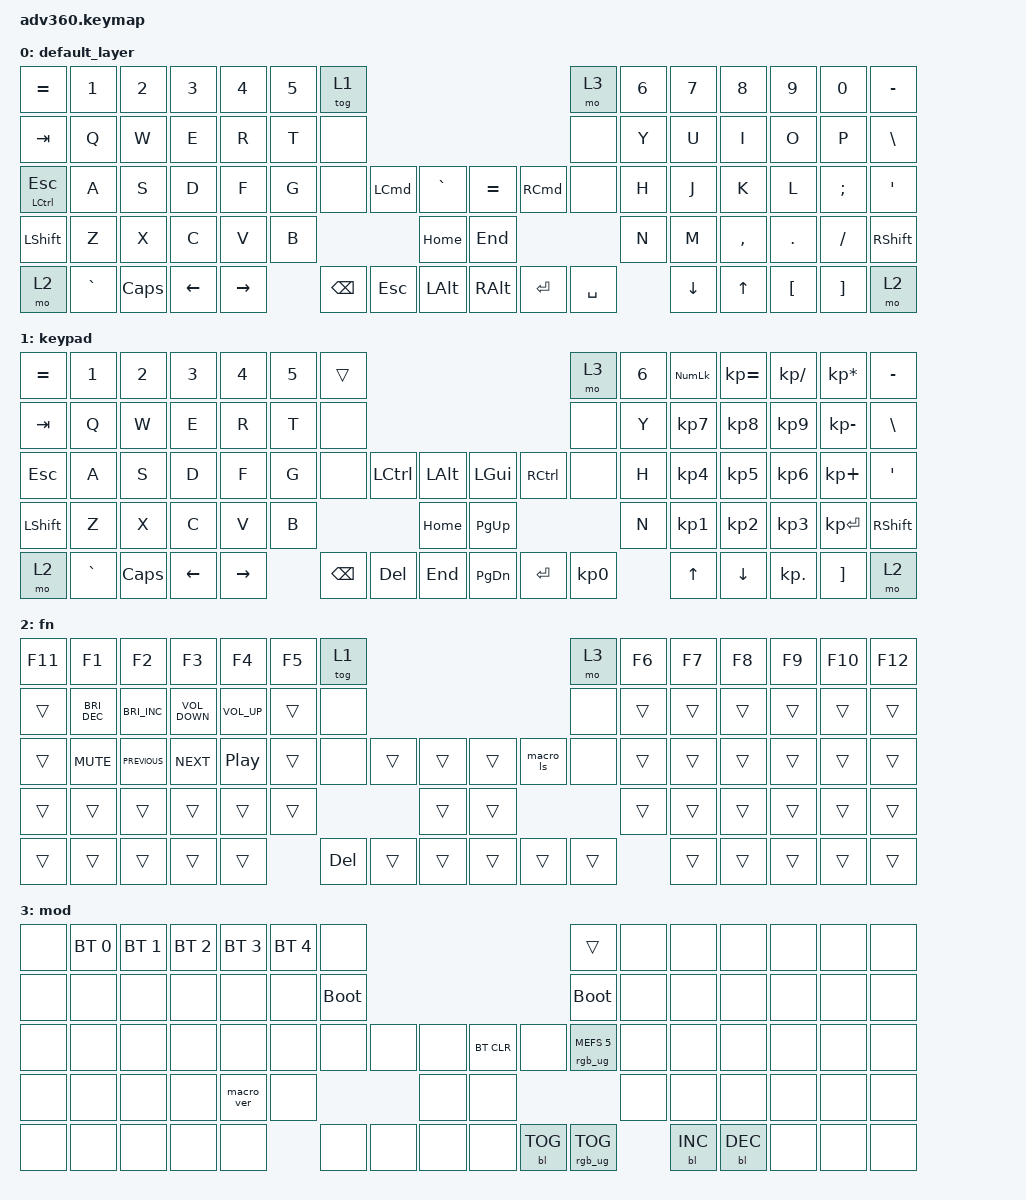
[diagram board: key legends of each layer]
#include <behaviors.dtsi>
#include <dt-bindings/zmk/backlight.h>
#include <dt-bindings/zmk/bt.h>
#include <dt-bindings/zmk/keys.h>
#include <dt-bindings/zmk/rgb.h>

/ {
    behaviors {
        #include "macros.dtsi"
      #include "version.dtsi"
      #ifndef VERSION_MACRO

        macro_ver: macro_ver {
            compatible = "zmk,behavior-macro";
            label = "macro_version";
            #binding-cells = <0>;
            bindings = <&kp RET>;
        };

        #endif

        hm: homerow_mods {
            compatible = "zmk,behavior-hold-tap";
            label = "HOMEROW_MODS";
            #binding-cells = <2>;
            tapping-term-ms = <200>;
            quick_tap_ms = <175>;
            flavor = "tap-preferred";
            bindings = <&kp>, <&kp>;
        };

        ht: ht {
            compatible = "zmk,behavior-hold-tap";
            label = "HT";
            #binding-cells = <2>;
            tapping-term-ms = <200>;
            quick_tap_ms = <175>;
            flavor = "tap-preferred";
            bindings = <&kp>, <&kp>;
        };
    };

    macros {
        macro_ls: macro_ls {
            compatible = "zmk,behavior-macro";
            #binding-cells = <0>;
            bindings =
                <&macro_press>,
                <&kp LEFT_COMMAND &kp LEFT_CONTROL &kp Q>,
                <&macro_release>,
                <&kp LEFT_COMMAND &kp LEFT_CONTROL &kp Q>;

            label = "macro_lscr";
        };
    };

    keymap {
        compatible = "zmk,keymap";

        default_layer {
            bindings = <
&kp EQUAL      &kp N1     &kp N2    &kp N3    &kp N4     &kp N5  &tog 1                                                                      &mo 3      &kp N6  &kp N7          &kp N8        &kp N9    &kp N0    &kp MINUS
&kp TAB        &kp Q      &kp W     &kp E     &kp R      &kp T   &none                                                                       &none      &kp Y   &kp U           &kp I         &kp O     &kp P     &kp BSLH
&ht LCTRL ESC  &kp A      &kp S     &kp D     &kp F      &kp G   &none     &kp LEFT_COMMAND  &kp GRAVE         &kp EQUAL  &kp RIGHT_COMMAND  &none      &kp H   &kp J           &kp K         &kp L     &kp SEMI  &kp SQT
&kp LSHFT      &kp Z      &kp X     &kp C     &kp V      &kp B                               &kp HOME          &kp END                                  &kp N   &kp M           &kp COMMA     &kp DOT   &kp FSLH  &kp RSHFT
&mo 2          &kp GRAVE  &kp CAPS  &kp LEFT  &kp RIGHT          &kp BSPC  &kp ESC           &kp LEFT_ALT      &kp RALT   &kp ENTER          &kp SPACE          &kp DOWN_ARROW  &kp UP_ARROW  &kp LBKT  &kp RBKT  &mo 2
            >;
        };

        keypad {
            bindings = <
&kp EQUAL  &kp N1     &kp N2    &kp N3    &kp N4     &kp N5  &trans                                                   &mo 3      &kp N6  &kp KP_NUM  &kp KP_EQUAL  &kp KP_DIVIDE  &kp KP_MULTIPLY  &kp MINUS
&kp TAB    &kp Q      &kp W     &kp E     &kp R      &kp T   &none                                                    &none      &kp Y   &kp KP_N7   &kp KP_N8     &kp KP_N9      &kp KP_MINUS     &kp BSLH
&kp ESC    &kp A      &kp S     &kp D     &kp F      &kp G   &none     &kp LCTRL  &kp LALT      &kp LGUI   &kp RCTRL  &none      &kp H   &kp KP_N4   &kp KP_N5     &kp KP_N6      &kp KP_PLUS      &kp SQT
&kp LSHFT  &kp Z      &kp X     &kp C     &kp V      &kp B                        &kp HOME      &kp PG_UP                        &kp N   &kp KP_N1   &kp KP_N2     &kp KP_N3      &kp KP_ENTER     &kp RSHFT
&mo 2      &kp GRAVE  &kp CAPS  &kp LEFT  &kp RIGHT          &kp BSPC  &kp DEL    &kp END       &kp PG_DN  &kp ENTER  &kp KP_N0          &kp UP      &kp DOWN      &kp KP_DOT     &kp RBKT         &mo 2
            >;
        };

        fn {
            bindings = <
&kp F11  &kp F1                &kp F2                &kp F3             &kp F4            &kp F5  &tog 1                                          &mo 3   &kp F6  &kp F7  &kp F8  &kp F9  &kp F10  &kp F12
&trans   &kp C_BRIGHTNESS_DEC  &kp C_BRIGHTNESS_INC  &kp C_VOLUME_DOWN  &kp C_VOLUME_UP   &trans  &none                                           &none   &trans  &trans  &trans  &trans  &trans   &trans
&trans   &kp C_MUTE            &kp C_PREVIOUS        &kp C_NEXT         &kp C_PLAY_PAUSE  &trans  &none    &trans  &trans      &trans  &macro_ls  &none   &trans  &trans  &trans  &trans  &trans   &trans
&trans   &trans                &trans                &trans             &trans            &trans                   &trans      &trans                     &trans  &trans  &trans  &trans  &trans   &trans
&trans   &trans                &trans                &trans             &trans                    &kp DEL  &trans  &trans      &trans  &trans     &trans          &trans  &trans  &trans  &trans   &trans
            >;
        };

        mod {
            bindings = <
&none  &bt BT_SEL 0  &bt BT_SEL 1  &bt BT_SEL 2  &bt BT_SEL 3  &bt BT_SEL 4  &none                                                  &trans                  &none  &none       &none       &none  &none  &none
&none  &none         &none         &none         &none         &none         &bootloader                                            &bootloader             &none  &none       &none       &none  &none  &none
&none  &none         &none         &none         &none         &none         &none        &none  &none      &bt BT_CLR  &none       &rgb_ug RGB_MEFS_CMD 5  &none  &none       &none       &none  &none  &none
&none  &none         &none         &none         &macro_ver    &none                             &none      &none                                           &none  &none       &none       &none  &none  &none
&none  &none         &none         &none         &none                       &none        &none  &none      &none       &bl BL_TOG  &rgb_ug RGB_TOG                &bl BL_INC  &bl BL_DEC  &none  &none  &none
            >;
        };
    };
};
